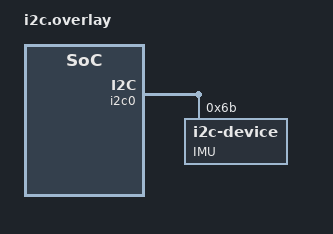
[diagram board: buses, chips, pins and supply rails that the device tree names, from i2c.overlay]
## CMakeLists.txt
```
cmake_minimum_required(VERSION 3.20.0)
find_package(Zephyr REQUIRED HINTS $ENV{ZEPHYR_BASE})

project(i2c_driver)

target_sources(app PRIVATE src/main.c src/LSM6DSM.c src/log.c)
```

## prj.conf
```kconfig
CONFIG_I2C=y
CONFIG_BT=y
CONFIG_BT_PERIPHERAL=y
CONFIG_BT_DEVICE_NAME="Sensor"
CONFIG_DK_LIBRARY=y
```

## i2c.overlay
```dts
// To get started, press Ctrl+Space to bring up the completion menu and view the available nodes.

// You can also use the buttons in the sidebar to perform actions on nodes.
// Actions currently available include:

// * Enabling / disabling the node
// * Adding the bus to a bus
// * Removing the node
// * Connecting ADC channels

// For more help, browse the DeviceTree documentation at https://docs.zephyrproject.org/latest/guides/dts/index.html
// You can also visit the nRF DeviceTree extension documentation at https://nrfconnect.github.io/vscode-nrf-connect/devicetree/nrfdevicetree.html

&i2c0 {
    imu: imu@6B{
        compatible = "i2c-device";
        reg = < 0x6B >;
        label = "IMU";
    };
};
```

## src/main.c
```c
#include "LSM6DSM.h"
#include "log.h"

#include <zephyr/bluetooth/bluetooth.h>
#include <zephyr/bluetooth/gap.h>
#include <zephyr/bluetooth/uuid.h>
#include <zephyr/bluetooth/addr.h>
#include <zephyr/bluetooth/conn.h>

#include <dk_buttons_and_leds.h>


#define DATA_RATE 100 // Hz

#define ID 0

#define DEVICE_NAME CONFIG_BT_DEVICE_NAME
#define DEVICE_NAME_LEN sizeof(DEVICE_NAME) - 1

#define CONNECTION_STATUS_LED DK_LED2


// IMU Constructs

static const configuration_t accelerometer_configuration = {
    .range = 16,         // Max G force readable: 2, 4, 8, 16
    .sample_rate = 6660, // Hz: 1, 13, 26, 52, 104, 208, 416, 833, 1666, 3330, 6660
    .bandwidth = 1500,   // Hz: 400, 1500
    .low_power = false,
};

static const configuration_t gyroscope_configuration = {
    .range = 2000,       // Max deg/s: 125, 250, 500, 1000, 2000
    .sample_rate = 6660, // Hz: 13, 26, 52, 104, 208, 416, 833, 1666, 3330, 6660 // TODO: Experiment with 3330 vs 6660
    .low_power = false,
};


// BLE Constructs

static struct bt_le_adv_param* advertisement_parameters = {
    BT_LE_ADV_PARAM(
        BT_LE_ADV_OPT_CONNECTABLE | BT_LE_ADV_OPT_USE_IDENTITY,
        800, // * 0.625ms = 500ms
        801, // * 0.625ms = 500.625ms
        NULL
    ),
};

typedef struct {
    vector_t accelerometer_data;
    vector_t gyroscope_data;
} imu_data_t;

static imu_data_t imu_data;

static const struct bt_data advertisement_data[] = {
    BT_DATA_BYTES(BT_DATA_FLAGS, (BT_LE_AD_GENERAL | BT_LE_AD_NO_BREDR)),
    BT_DATA(BT_DATA_NAME_COMPLETE, DEVICE_NAME, DEVICE_NAME_LEN),
	BT_DATA(BT_DATA_MANUFACTURER_DATA, (uint8_t*)&imu_data, sizeof(imu_data)),
};

static const struct bt_data scan_response_data[] = {
    BT_DATA_BYTES(BT_DATA_UUID128_ALL, BT_UUID_128_ENCODE(0x00001523, 0x1212, 0xefde, 0x1523, 0x785feabcd123)),
};


void main(void) {
    // TODO: Tidy up this code - package IMU into C++ class?
    
    status = initialise_imu(accelerometer_configuration, gyroscope_configuration);
    if (status != SUCCESS) {
        error(1, "IMU initialisation failed");
    }


    // BLE Setup

    int return_code;

    bt_addr_le_t address;
	return_code = bt_addr_le_from_str("FF:EE:DD:CC:BB:AA", "random", &address);
	if (return_code != 0) {
		error(1, "Invalid BT address (error code: %d)\n", return_code);
	}
    info(1, "Bluetooth address set");

	return_code = bt_id_create(&address, NULL);
	if (return_code < 0) {
		error(1, "Creating new ID failed (error code: %d)\n", return_code);
	}
    info(1, "Bluetooth ID created");

    return_code = bt_enable(NULL);
    if (return_code != 0) {
        error(1, "Bluetooth initialisation failed (error code: %d)", return_code);
    }
    info(1, "Bluetooth initialised");

    return_code = bt_le_adv_start(
        advertisement_parameters,
        advertisement_data, ARRAY_SIZE(advertisement_data),
        scan_response_data, ARRAY_SIZE(scan_response_data)
    );
	if (return_code != 0) {
		error(1, "Advertising failed to start (error code: %d)\n", return_code);
	}
    info(1, "Advertising started");


    vector_t accelerometer_data, gyroscope_data;
    
    while (true) {
        status = read_accelerometer(&accelerometer_data);
        if (status != SUCCESS) {
            warn(1, "Accelerometer read failed");
        }
    
        status = read_gyroscope(&gyroscope_data);
        if (status != SUCCESS) {
            warn(1, "Gyroscope read failed");
        }

        printk(
            // "% d % d % d % d % d % d\n",
            // accelerometer_data.x, accelerometer_data.y, accelerometer_data.z,
            // gyroscope_data.x, gyroscope_data.y, gyroscope_data.z
            "%04x%04x%04x%04x%04x%04x\n",
            (uint16_t)accelerometer_data.x, (uint16_t)accelerometer_data.y, (uint16_t)accelerometer_data.z,
            (uint16_t)gyroscope_data.x, (uint16_t)gyroscope_data.y, (uint16_t)gyroscope_data.z
        );

        // TODO: Send data and ID to host over BLE

        imu_data.accelerometer_data = accelerometer_data;
        imu_data.gyroscope_data = gyroscope_data;

        bt_le_adv_update_data(advertisement_data, ARRAY_SIZE(advertisement_data), scan_response_data, ARRAY_SIZE(scan_response_data));
        
        k_msleep(1000 / DATA_RATE);
    }
}
```

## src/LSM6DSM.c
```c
#include "LSM6DSM.h"

status_t initialise_imu(configuration_t accelerometer, configuration_t gyroscope) {
    // IMU.all_ones_counter = 0;
    // IMU.non_success_counter = 0;
    IMU.gyroscope = gyroscope;
    IMU.accelerometer = accelerometer;

    if (!i2c_is_ready_dt(&IMU.i2c)) {
        error(2, "I2C is not ready");
        return HARDWARE_ERROR;
    }

    // Wait for a few ms
    // FIXME: Is this enough time? Is this even necessary?
    k_msleep(10);

    // Check the ID register for a successful initialization
    uint8_t id;
    status = read_byte(WHO_AM_I, &id);
    if (status != SUCCESS) {
        error(2, "Failed to read ID");
        return status;
    }
    if (id != WHO_AM_I_REG_VALUE) {
        error(2, "ID is not correct");
        return HARDWARE_ERROR;
    }

    // Setup accelerometer
    uint8_t data_to_write = 0;
    switch (IMU.accelerometer.bandwidth) {
        default:   IMU.accelerometer.bandwidth = 400;
        case 400:  data_to_write |= BW0_XL_400Hz;     break;
        case 1500: data_to_write |= BW0_XL_1500Hz;    break;
    }
    switch (IMU.accelerometer.range) {
        default: IMU.accelerometer.range = 2;
        case 2:  data_to_write |= FS_XL_2g;   break;
        case 4:  data_to_write |= FS_XL_4g;   break;
        case 8:  data_to_write |= FS_XL_8g;   break;
        case 16: data_to_write |= FS_XL_16g;  break;
    }
    switch (IMU.accelerometer.sample_rate) {
        default:   IMU.accelerometer.sample_rate = 104;
        case 1:    data_to_write |= ODR_XL_1_6Hz;       break;
        case 13:   data_to_write |= ODR_XL_12_5Hz;      break;
        case 26:   data_to_write |= ODR_XL_26Hz;        break;
        case 52:   data_to_write |= ODR_XL_52Hz;        break;
        case 104:  data_to_write |= ODR_XL_104Hz;       break;
        case 208:  data_to_write |= ODR_XL_208Hz;       break;
        case 416:  data_to_write |= ODR_XL_416Hz;       break;
        case 833:  data_to_write |= ODR_XL_833Hz;       break;
        case 1660: data_to_write |= ODR_XL_1660Hz;      break;
        case 3330: data_to_write |= ODR_XL_3330Hz;      break;
        case 6660: data_to_write |= ODR_XL_6660Hz;      break;
    }
    status = write_byte(CTRL1_XL, data_to_write);
    if (status != SUCCESS) {
        error(2, "Failed to configure accelerometer");
        return status;
    }
    
    // Configure accelerometer low power mode
    // data_to_write = 0;
    // data_to_write |= XL_HM_MODE_ENABLED;
    // TODO: Check that this works?
    if (IMU.accelerometer.low_power) {
        status = write_byte(CTRL6_C, XL_HM_MODE_ENABLED);
        if (status != SUCCESS) {
            error(2, "Failed to configure accelerometer low power mode");
            return status;
        }
    }

    // Setup gyroscope
    data_to_write = 0;
    switch (IMU.gyroscope.range) {
        default:   IMU.gyroscope.range = 250;
        case 125:  data_to_write |= FS_125_ENABLED; break;
        case 250:  data_to_write |= FS_G_250dps;    break;
        case 500:  data_to_write |= FS_G_500dps;    break;
        case 1000: data_to_write |= FS_G_1000dps;   break;
        case 2000: data_to_write |= FS_G_2000dps;   break;
    }
    switch (IMU.gyroscope.sample_rate) {
        default:   IMU.gyroscope.sample_rate = 104;
        case 13:   data_to_write |= ODR_G_13Hz;     break;
        case 26:   data_to_write |= ODR_G_26Hz;     break;
        case 52:   data_to_write |= ODR_G_52Hz;     break;
        case 104:  data_to_write |= ODR_G_104Hz;    break;
        case 208:  data_to_write |= ODR_G_208Hz;    break;
        case 416:  data_to_write |= ODR_G_416Hz;    break;
        case 833:  data_to_write |= ODR_G_833Hz;    break;
        case 1660: data_to_write |= ODR_G_1660Hz;   break;
        case 3330: data_to_write |= ODR_G_3330Hz;   break;
        case 6660: data_to_write |= ODR_G_6660Hz;   break;
    }
    status = write_byte(CTRL2_G, data_to_write);
    if (status != SUCCESS) {
        error(2, "Failed to configure gyroscope");
        return status;
    }

    // Configure gyroscope low power mode
    // dataToWrite = 0;
    // dataToWrite |= G_HM_MODE_ENABLED;
    // TODO: Check that this works?
    if (IMU.gyroscope.low_power) {
        status = write_byte(CTRL7_G, G_HM_MODE_ENABLED);
        if (status != SUCCESS) {
            error(2, "Failed to configure gyroscope low power mode");
            return status;
        }
    }

    status = write_byte(CTRL8_XL, LOW_PASS_ON_6D_ENABLED);
    if (status != SUCCESS) {
        error(2, "Failed to enable accelerometer low pass filter");
        return status;
    }

    // TODO: Enable low pass on gyro?

    return SUCCESS;
}

status_t read_byte(uint8_t address, uint8_t* data) {
    int return_code = i2c_reg_read_byte_dt(&IMU.i2c, address, data);
    if (return_code != 0) {
        error(5, "Failed to read byte");
        return HARDWARE_ERROR;
    }
    return SUCCESS;
}

status_t read_int16(uint8_t address, int16_t* data) {
    uint8_t buffer[2];
    read_byte(address, &buffer[0]);
    read_byte(address + 1, &buffer[1]);
    // int return_code = i2c_burst_read_dt(&IMU.i2c, address, buffer, 2);
    // if (return_code != 0) {
    //     error(2, "Failed to read int16");
    //     return HARDWARE_ERROR;
    // }
    *data = (buffer[1] << 8) | buffer[0];
    return SUCCESS;
}

status_t write_byte(uint8_t address, uint8_t data) {
    int return_code = i2c_reg_write_byte_dt(&IMU.i2c, address, data);
    if (return_code != 0) {
        error(5, "Failed to write byte");
        return HARDWARE_ERROR;
    }
    return SUCCESS;
}

status_t read_raw_data(uint8_t address, int16_t* data) {
    status = read_int16(address, data);
    if (status != SUCCESS) {
        if (status == ALL_ONES_WARNING) {
            warn(4, "All ones detected");
            // IMU.all_ones_counter++;
        } else {
            warn(4, "Non success detected");
            // IMU.non_success_counter++;
        }
    }
    return status;
}

status_t convert_raw_data(sensor_t sensor, int16_t* data) {
    switch (sensor) {
        case ACCELEROMETER: *data *= (IMU.accelerometer.range / 2); break;
        case GYROSCOPE:     *data *= (IMU.gyroscope.range / 125); break;
        case TEMPERATURE:   *data /= 256; break;
        default:
            error(4, "Sensor not supported");
            return NOT_SUPPORTED;
    }
    return SUCCESS;
}

status_t read_data(sensor_t sensor, uint8_t address, int16_t* data) {
    status = read_raw_data(address, data);
    if (status != SUCCESS) {
        error(3, "Failed to read raw data");
        return status;
    }
    status = convert_raw_data(sensor, data);
    if (status != SUCCESS) {
        error(3, "Failed to convert raw data");
        return status;
    }
    return SUCCESS;
}

status_t read_accelerometer(vector_t* data) {
    status = read_data(ACCELEROMETER, OUTX_L_XL, &data->x);
    if (status != SUCCESS) {
        error(2, "Failed to read accelerometer x");
        return status;
    }
    status = read_data(ACCELEROMETER, OUTY_L_XL, &data->y);
    if (status != SUCCESS) {
        error(2, "Failed to read accelerometer y");
        return status;
    }
    status = read_data(ACCELEROMETER, OUTZ_L_XL, &data->z);
    if (status != SUCCESS) {
        error(2, "Failed to read accelerometer z");
        return status;
    }
    return SUCCESS;
}

status_t read_gyroscope(vector_t* data) {
    status = read_data(GYROSCOPE, OUTX_L_G, &data->x);
    if (status != SUCCESS) {
        error(2, "Failed to read gyroscope x");
        return status;
    }
    status = read_data(GYROSCOPE, OUTY_L_G, &data->y);
    if (status != SUCCESS) {
        error(2, "Failed to read gyroscope y");
        return status;
    }
    status = read_data(GYROSCOPE, OUTZ_L_G, &data->z);
    if (status != SUCCESS) {
        error(2, "Failed to read gyroscope z");
        return status;
    }
    return SUCCESS;
}

status_t read_temperature(int16_t* data) {
    status = read_data(TEMPERATURE, OUT_TEMP_L, data);
    if (status != SUCCESS) {
        error(2, "Failed to read temperature");
        return status;
    }
    return SUCCESS;
}
```

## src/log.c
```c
#include "log.h"

#include <zephyr/sys/printk.h>
#include <stdlib.h>

void error(uint8_t log_level, const char* format, ...) {
    if (log_level > LOG_LEVEL) {
        return;
    }
    va_list args;
    va_start(args, format);
    printk(RED "[ERROR] " RESET);
    vprintk(format, args);
    printk("\n\r");
    va_end(args);
    exit(1);
}

void warn(uint8_t log_level, const char* format, ...) {
    if (log_level > LOG_LEVEL) {
        return;
    }
    va_list args;
    va_start(args, format);
    printk(YELLOW "[WARN]  " RESET);
    vprintk(format, args);
    printk("\n\r");
    va_end(args);
}

void info(uint8_t log_level, const char* format, ...) {
    if (log_level > LOG_LEVEL) {
        return;
    }
    va_list args;
    va_start(args, format);
    printk(BLUE "[INFO]  " RESET);
    vprintk(format, args);
    printk("\n\r");
    va_end(args);
}
```

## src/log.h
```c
#pragma once

#define LOG_LEVEL 1

#define RED     "\x1b[31m"
#define GREEN   "\x1b[32m"
#define YELLOW  "\x1b[33m"
#define BLUE    "\x1b[34m"
#define MAGENTA "\x1b[35m"
#define CYAN    "\x1b[36m"
#define RESET   "\x1b[0m"

void error(uint8_t, const char*, ...);
void warn(uint8_t, const char*, ...);
void info(uint8_t, const char*, ...);
```
